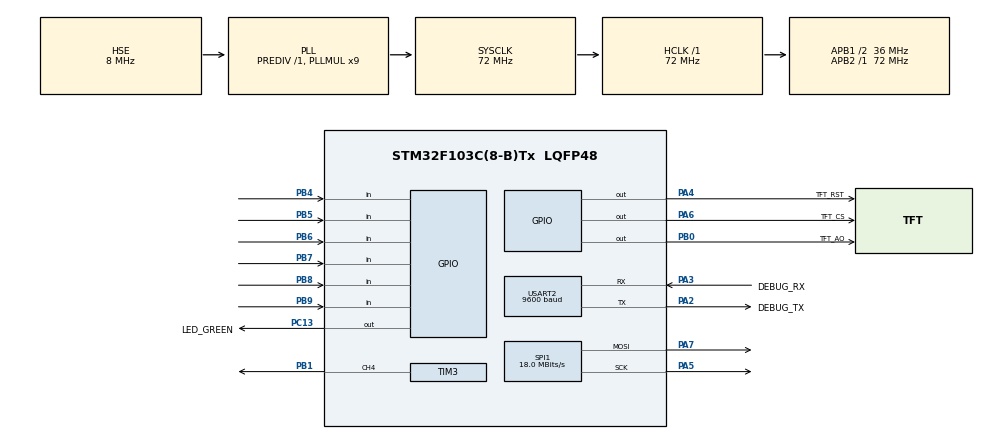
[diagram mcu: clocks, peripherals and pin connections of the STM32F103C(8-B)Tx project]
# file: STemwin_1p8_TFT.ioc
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Dma.Request0=USART2_RX
Dma.USART2_RX.0.Direction=DMA_PERIPH_TO_MEMORY
Dma.USART2_RX.0.Instance=DMA1_Channel6
Dma.USART2_RX.0.MemDataAlignment=DMA_MDATAALIGN_BYTE
Dma.USART2_RX.0.MemInc=DMA_MINC_ENABLE
Dma.USART2_RX.0.Mode=DMA_NORMAL
Dma.USART2_RX.0.PeriphDataAlignment=DMA_PDATAALIGN_BYTE
Dma.USART2_RX.0.PeriphInc=DMA_PINC_DISABLE
Dma.USART2_RX.0.Priority=DMA_PRIORITY_VERY_HIGH
Mcu.Family=STM32F1
Mcu.Name=STM32F103C(8-B)Tx
Mcu.Package=LQFP48
NVIC.DMA1_Channel6_IRQn=true\:0\:0\:false\:false\:true\:false
NVIC.PriorityGroup=NVIC_PRIORITYGROUP_4
NVIC.TIM4_IRQn=true\:1\:0\:true\:true\:true\:1\:true
NVIC.USART2_IRQn=true\:0\:0\:false\:false\:true\:true
PA13.Mode=Serial_Wire
PA13.Signal=SYS_JTMS-SWDIO
PA14.Mode=Serial_Wire
PA14.Signal=SYS_JTCK-SWCLK
PA2.GPIO_Label=DEBUG_TX
PA2.Mode=Asynchronous
PA2.Signal=USART2_TX
PA3.GPIO_Label=DEBUG_RX
PA3.Mode=Asynchronous
PA3.Signal=USART2_RX
PA4.GPIO_Label=TFT_RST
PA4.GPIO_Speed=GPIO_SPEED_FREQ_HIGH
PA4.Signal=GPIO_Output
PA5.Mode=TX_Only_Simplex_Unidirect_Master
PA5.Signal=SPI1_SCK
PA6.GPIO_Label=TFT_CS
PA6.GPIO_Speed=GPIO_SPEED_FREQ_HIGH
PA6.Signal=GPIO_Output
PA7.Mode=TX_Only_Simplex_Unidirect_Master
PA7.Signal=SPI1_MOSI
PB0.GPIO_Label=TFT_AO
PB0.GPIO_Speed=GPIO_SPEED_FREQ_HIGH
PB0.Signal=GPIO_Output
PB1.Signal=S_TIM3_CH4
PB4.GPIO_PuPd=GPIO_PULLUP
PB4.Signal=GPIO_Input
PB5.GPIO_PuPd=GPIO_PULLUP
PB5.Signal=GPIO_Input
PB6.GPIO_PuPd=GPIO_PULLUP
PB6.Signal=GPIO_Input
PB7.GPIO_PuPd=GPIO_PULLUP
PB7.Signal=GPIO_Input
PB8.GPIO_PuPd=GPIO_PULLUP
PB8.Signal=GPIO_Input
PB9.GPIO_PuPd=GPIO_PULLUP
PB9.Signal=GPIO_Input
PC13-TAMPER-RTC.GPIO_Label=LED_GREEN
PC13-TAMPER-RTC.GPIO_Speed=GPIO_SPEED_FREQ_HIGH
PC13-TAMPER-RTC.Signal=GPIO_Output
PC14-OSC32_IN.Mode=LSE-External-Oscillator
PC14-OSC32_IN.Signal=RCC_OSC32_IN
PC15-OSC32_OUT.Mode=LSE-External-Oscillator
PC15-OSC32_OUT.Signal=RCC_OSC32_OUT
PD0-OSC_IN.Mode=HSE-External-Oscillator
PD0-OSC_IN.Signal=RCC_OSC_IN
PD1-OSC_OUT.Mode=HSE-External-Oscillator
PD1-OSC_OUT.Signal=RCC_OSC_OUT
ProjectManager.HeapSize=0x800
ProjectManager.StackSize=0x1000
ProjectManager.TargetToolchain=MDK-ARM V5
RCC.ADCPresc=RCC_ADCPCLK2_DIV6
RCC.AHBFreq_Value=72000000
RCC.APB1CLKDivider=RCC_HCLK_DIV2
RCC.APB1Freq_Value=36000000
RCC.APB1TimFreq_Value=72000000
RCC.APB2Freq_Value=72000000
RCC.APB2TimFreq_Value=72000000
RCC.HCLKFreq_Value=72000000
RCC.PLLMUL=RCC_PLL_MUL9
RCC.PLLSourceVirtual=RCC_PLLSOURCE_HSE
RCC.SYSCLKFreq_VALUE=72000000
RCC.SYSCLKSource=RCC_SYSCLKSOURCE_PLLCLK
RCC.USBFreq_Value=48000000
RCC.USBPrescaler=RCC_USBCLKSOURCE_PLL_DIV1_5
SH.S_TIM3_CH4.0=TIM3_CH4,PWM Generation4 CH4
SPI1.BaudRatePrescaler=SPI_BAUDRATEPRESCALER_4
SPI1.CLKPhase=SPI_PHASE_2EDGE
SPI1.CLKPolarity=SPI_POLARITY_HIGH
SPI1.CalculateBaudRate=18.0 MBits/s
SPI1.Direction=SPI_DIRECTION_2LINES
SPI1.Mode=SPI_MODE_MASTER
SPI1.VirtualType=VM_MASTER
TIM3.Channel-PWM\ Generation4\ CH4=TIM_CHANNEL_4
TIM3.Period=11
TIM3.Prescaler=65535
TIM3.Pulse-PWM\ Generation4\ CH4=10
TIM4.Period=1000-1
TIM4.Prescaler=7200-1
USART2.BaudRate=9600
USART2.VirtualMode=VM_ASYNC
VP_CRC_VS_CRC.Mode=CRC_Activate
VP_TIM3_VS_ClockSourceINT.Mode=Internal
VP_TIM4_VS_ClockSourceINT.Mode=Internal
board=STemwin_1p8_TFT

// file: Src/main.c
/**
  ******************************************************************************
  * @file           : main.c
  * @brief          : Main program body
  ******************************************************************************
  ** This notice applies to any and all portions of this file
  * that are not between comment pairs USER CODE BEGIN and
  * USER CODE END. Other portions of this file, whether
  * inserted by the user or by software development tools
  * are owned by their respective copyright owners.
  *
  * COPYRIGHT(c) 2018 STMicroelectronics
  *
  * Redistribution and use in source and binary forms, with or without modification,
  * are permitted provided that the following conditions are met:
  *   1. Redistributions of source code must retain the above copyright notice,
  *      this list of conditions and the following disclaimer.
  *   2. Redistributions in binary form must reproduce the above copyright notice,
  *      this list of conditions and the following disclaimer in the documentation
  *      and/or other materials provided with the distribution.
  *   3. Neither the name of STMicroelectronics nor the names of its contributors
  *      may be used to endorse or promote products derived from this software
  *      without specific prior written permission.
  *
  * THIS SOFTWARE IS PROVIDED BY THE COPYRIGHT HOLDERS AND CONTRIBUTORS "AS IS"
  * AND ANY EXPRESS OR IMPLIED WARRANTIES, INCLUDING, BUT NOT LIMITED TO, THE
  * IMPLIED WARRANTIES OF MERCHANTABILITY AND FITNESS FOR A PARTICULAR PURPOSE ARE
  * DISCLAIMED. IN NO EVENT SHALL THE COPYRIGHT HOLDER OR CONTRIBUTORS BE LIABLE
  * FOR ANY DIRECT, INDIRECT, INCIDENTAL, SPECIAL, EXEMPLARY, OR CONSEQUENTIAL
  * DAMAGES (INCLUDING, BUT NOT LIMITED TO, PROCUREMENT OF SUBSTITUTE GOODS OR
  * SERVICES; LOSS OF USE, DATA, OR PROFITS; OR BUSINESS INTERRUPTION) HOWEVER
  * CAUSED AND ON ANY THEORY OF LIABILITY, WHETHER IN CONTRACT, STRICT LIABILITY,
  * OR TORT (INCLUDING NEGLIGENCE OR OTHERWISE) ARISING IN ANY WAY OUT OF THE USE
  * OF THIS SOFTWARE, EVEN IF ADVISED OF THE POSSIBILITY OF SUCH DAMAGE.
  *
  ******************************************************************************
  */
#include "main.h"
#include "stm32f1xx_hal.h"

/* USER CODE BEGIN Includes */
#include "GUI.h"
#include "DIALOG.h"

#include "eeprom.h"
#include "BSP_GPS.h"
#include "BSP_Button.h"
/* USER CODE END Includes */

CRC_HandleTypeDef hcrc;

SPI_HandleTypeDef hspi1;

TIM_HandleTypeDef htim3;
TIM_HandleTypeDef htim4;

UART_HandleTypeDef huart2;
DMA_HandleTypeDef hdma_usart2_rx;

/* USER CODE BEGIN PV */
/* Private variables ---------------------------------------------------------*/
GPS_GPRMC_INFO GPRMC;
uint8_t Nb_Of_coordinate;
uint8_t UART_GPS_RX[100];
uint8_t  RX_flag=1;       //闂佽浜介崕鏌ュ极瑜版帒鍐?闁搞儜鍛啀
uint16_t UART_GPS_RX_Size;//闂佽浜介崕鏌ュ极瑜版帒鏋侀柣妤?鐗嗙粊锕傛倵閸︻厼浠辨俊缁㈠灦濮婂綊宕归纰卞敽

Guassian_Projection_Typedef  Projection;
extern GUI_CONST_STORAGE GUI_FONT GUI_FontMyFont13;
extern GUI_CONST_STORAGE GUI_FONT GUI_FontMyFont24;
extern GUI_CONST_STORAGE GUI_FONT GUI_FontMyFont33;
/* USER CODE END PV */

void SystemClock_Config(void);
static void MX_GPIO_Init(void);
static void MX_DMA_Init(void);
static void MX_USART2_UART_Init(void);
static void MX_SPI1_Init(void);
static void MX_CRC_Init(void);
static void MX_TIM3_Init(void);
static void MX_TIM4_Init(void);
static void MX_NVIC_Init(void);

void HAL_TIM_MspPostInit(TIM_HandleTypeDef *htim);

/* USER CODE BEGIN PFP */
/* Private function prototypes -----------------------------------------------*/
void UsartReceive_IDLE(UART_HandleTypeDef *huart);
void CD(void);
WM_HWIN CreateWindow(void);

/* USER CODE END PFP */

int main(void)
{

  /* MCU Configuration----------------------------------------------------------*/

  /* Reset of all peripherals, Initializes the Flash interface and the Systick. */
  HAL_Init();

  /* Configure the system clock */
  SystemClock_Config();

  /* Initialize all configured peripherals */
  MX_GPIO_Init();
  MX_DMA_Init();
  MX_USART2_UART_Init();
  MX_SPI1_Init();
  MX_CRC_Init();
  MX_TIM3_Init();
  MX_TIM4_Init();

  /* Initialize interrupts */
  MX_NVIC_Init();
  /* USER CODE BEGIN 2 */

	__HAL_RCC_CRC_CLK_ENABLE();

	HAL_TIM_Base_Start(&htim3);
	HAL_TIM_PWM_Start(&htim3,TIM_CHANNEL_4);

  Nb_Of_coordinate=0;

  GUI_Init();
  GUI_UC_SetEncodeUTF8();
	GUI_SetColor(GUI_BLACK);
	GUI_SetBkColor(GUI_WHITE);
	GUI_Clear();

	GUI_SetFont(&GUI_FontMyFont33);
  GUI_SetColor(GUI_RED);
  GUI_DispStringAt("GPS 测亩仪",10,20);

	GUI_SetFont(&GUI_FontMyFont24);
  GUI_SetColor(GUI_LIGHTRED);
	GUI_DispStringAt("By 祁星晨",50,80);

	HAL_Delay(5000);
 GUI_SetBkColor(GUI_CYAN);
	GUI_Clear();

	CreateWindow();

	HAL_UART_Receive_DMA(&huart2, UART_GPS_RX, 100);
  __HAL_UART_ENABLE_IT(&huart2, UART_IT_IDLE);

	HAL_TIM_Base_Start_IT(&htim4);

  /* USER CODE END 2 */

  /* Infinite loop */
  while (1)
  {

  /* USER CODE BEGIN 3 */

  Get_GPS_GPRMC();

		GUI_SetFont(&GUI_Font10_ASCII);
    GUI_SetColor(GUI_GRAY);
	      if(GPRMC.GPS_UTC_Hours!=0)
						{
            GUI_DispDecAt( GPRMC.GPS_UTC_Hours ,0,0,2);
						GUI_DispChar(':');
            }

				if(GPRMC.GPS_UTC_Minutes!=0)
					  {
							GUI_DispDecAt( GPRMC.GPS_UTC_Minutes ,17,0,2);
              GUI_DispChar(':');
				  	}
				if(GPRMC.GPS_UTC_Seconds!=0)
           {
						GUI_DispDecAt( GPRMC.GPS_UTC_Seconds ,34,0,2);
					 }

		      if(GPRMC.GPS_Statu==1)
	         {
            GUI_DispStringAt("NO",0,10);
		       }

					if(GPRMC.GPS_Statu==2)
					{

								GUI_DispStringAt("OK",0,10);

								if(GPRMC.GPS_Latitude_DD!=0)
								{
						      GUI_DispDecAt( GPRMC.GPS_Latitude_DD ,76,2,3);
									GUI_DispDec(GPRMC.GPS_Latitude_MM,7);
						   	}

				        if(GPRMC.GPS_Longitude_DD!=0)
								{
						      GUI_DispDecAt(GPRMC.GPS_Longitude_DD ,76,14,3);
									GUI_DispDec(GPRMC.GPS_Longitude_MM,7);
								}

								if(GPRMC.GPS_NS==1)
								{
									  GUI_SetFont(&GUI_FontMyFont13);
                    GUI_DispStringAt("北纬",135,0);
								}

								if(GPRMC.GPS_NS==2)
								{
									GUI_SetFont(&GUI_FontMyFont13);
									GUI_DispStringAt("南纬",135,0);
								}

								if(GPRMC.GPS_WE==1)
								{
									GUI_SetFont(&GUI_FontMyFont13);
									GUI_DispStringAt("东经",135,14);
								}
								if(GPRMC.GPS_WE==2)
								{
									GUI_SetFont(&GUI_FontMyFont13);
								  GUI_DispStringAt("西经",135,14);
								}

								Projection=Guassian_Projection(GPRMC.GPS_Latitude_DD,GPRMC.GPS_Latitude_MM,GPRMC.GPS_Longitude_DD,GPRMC.GPS_Longitude_MM);

		  		}

  GUI_Delay(80);

 }

  /* USER CODE END 3 */

}

void SystemClock_Config(void)
{

  RCC_OscInitTypeDef RCC_OscInitStruct;
  RCC_ClkInitTypeDef RCC_ClkInitStruct;

    /**Initializes the CPU, AHB and APB busses clocks
    */
  RCC_OscInitStruct.OscillatorType = RCC_OSCILLATORTYPE_HSE;
  RCC_OscInitStruct.HSEState = RCC_HSE_ON;
  RCC_OscInitStruct.HSEPredivValue = RCC_HSE_PREDIV_DIV1;
  RCC_OscInitStruct.HSIState = RCC_HSI_ON;
  RCC_OscInitStruct.PLL.PLLState = RCC_PLL_ON;
  RCC_OscInitStruct.PLL.PLLSource = RCC_PLLSOURCE_HSE;
  RCC_OscInitStruct.PLL.PLLMUL = RCC_PLL_MUL9;
  if (HAL_RCC_OscConfig(&RCC_OscInitStruct) != HAL_OK)
  {
    _Error_Handler(__FILE__, __LINE__);
  }

    /**Initializes the CPU, AHB and APB busses clocks
    */
  RCC_ClkInitStruct.ClockType = RCC_CLOCKTYPE_HCLK|RCC_CLOCKTYPE_SYSCLK
                              |RCC_CLOCKTYPE_PCLK1|RCC_CLOCKTYPE_PCLK2;
  RCC_ClkInitStruct.SYSCLKSource = RCC_SYSCLKSOURCE_PLLCLK;
  RCC_ClkInitStruct.AHBCLKDivider = RCC_SYSCLK_DIV1;
  RCC_ClkInitStruct.APB1CLKDivider = RCC_HCLK_DIV2;
  RCC_ClkInitStruct.APB2CLKDivider = RCC_HCLK_DIV1;

  if (HAL_RCC_ClockConfig(&RCC_ClkInitStruct, FLASH_LATENCY_2) != HAL_OK)
  {
    _Error_Handler(__FILE__, __LINE__);
  }

    /**Configure the Systick interrupt time
    */
  HAL_SYSTICK_Config(HAL_RCC_GetHCLKFreq()/1000);

    /**Configure the Systick
    */
  HAL_SYSTICK_CLKSourceConfig(SYSTICK_CLKSOURCE_HCLK);

  /* SysTick_IRQn interrupt configuration */
  HAL_NVIC_SetPriority(SysTick_IRQn, 0, 0);
}

/**
  * @brief NVIC Configuration.
  * @retval None
  */
static void MX_NVIC_Init(void)
{
  /* TIM4_IRQn interrupt configuration */
  HAL_NVIC_SetPriority(TIM4_IRQn, 1, 0);
  HAL_NVIC_EnableIRQ(TIM4_IRQn);
}

/* CRC init function */
static void MX_CRC_Init(void)
{

  hcrc.Instance = CRC;
  if (HAL_CRC_Init(&hcrc) != HAL_OK)
  {
    _Error_Handler(__FILE__, __LINE__);
  }

}

/* SPI1 init function */
static void MX_SPI1_Init(void)
{

  /* SPI1 parameter configuration*/
  hspi1.Instance = SPI1;
  hspi1.Init.Mode = SPI_MODE_MASTER;
  hspi1.Init.Direction = SPI_DIRECTION_2LINES;
  hspi1.Init.DataSize = SPI_DATASIZE_8BIT;
  hspi1.Init.CLKPolarity = SPI_POLARITY_HIGH;
  hspi1.Init.CLKPhase = SPI_PHASE_2EDGE;
  hspi1.Init.NSS = SPI_NSS_SOFT;
  hspi1.Init.BaudRatePrescaler = SPI_BAUDRATEPRESCALER_4;
  hspi1.Init.FirstBit = SPI_FIRSTBIT_MSB;
  hspi1.Init.TIMode = SPI_TIMODE_DISABLE;
  hspi1.Init.CRCCalculation = SPI_CRCCALCULATION_DISABLE;
  hspi1.Init.CRCPolynomial = 10;
  if (HAL_SPI_Init(&hspi1) != HAL_OK)
  {
    _Error_Handler(__FILE__, __LINE__);
  }

}

/* TIM3 init function */
static void MX_TIM3_Init(void)
{

  TIM_ClockConfigTypeDef sClockSourceConfig;
  TIM_MasterConfigTypeDef sMasterConfig;
  TIM_OC_InitTypeDef sConfigOC;

  htim3.Instance = TIM3;
  htim3.Init.Prescaler = 65535;
  htim3.Init.CounterMode = TIM_COUNTERMODE_UP;
  htim3.Init.Period = 11;
  htim3.Init.ClockDivision = TIM_CLOCKDIVISION_DIV1;
  htim3.Init.AutoReloadPreload = TIM_AUTORELOAD_PRELOAD_DISABLE;
  if (HAL_TIM_Base_Init(&htim3) != HAL_OK)
  {
    _Error_Handler(__FILE__, __LINE__);
  }

  sClockSourceConfig.ClockSource = TIM_CLOCKSOURCE_INTERNAL;
  if (HAL_TIM_ConfigClockSource(&htim3, &sClockSourceConfig) != HAL_OK)
  {
    _Error_Handler(__FILE__, __LINE__);
  }

  if (HAL_TIM_PWM_Init(&htim3) != HAL_OK)
  {
    _Error_Handler(__FILE__, __LINE__);
  }

  sMasterConfig.MasterOutputTrigger = TIM_TRGO_RESET;
  sMasterConfig.MasterSlaveMode = TIM_MASTERSLAVEMODE_DISABLE;
  if (HAL_TIMEx_MasterConfigSynchronization(&htim3, &sMasterConfig) != HAL_OK)
  {
    _Error_Handler(__FILE__, __LINE__);
  }

  sConfigOC.OCMode = TIM_OCMODE_PWM1;
  sConfigOC.Pulse = 10;
  sConfigOC.OCPolarity = TIM_OCPOLARITY_HIGH;
  sConfigOC.OCFastMode = TIM_OCFAST_DISABLE;
  if (HAL_TIM_PWM_ConfigChannel(&htim3, &sConfigOC, TIM_CHANNEL_4) != HAL_OK)
  {
    _Error_Handler(__FILE__, __LINE__);
  }

  HAL_TIM_MspPostInit(&htim3);

}

/* TIM4 init function */
static void MX_TIM4_Init(void)
{

  TIM_ClockConfigTypeDef sClockSourceConfig;
  TIM_MasterConfigTypeDef sMasterConfig;

  htim4.Instance = TIM4;
  htim4.Init.Prescaler = 7200-1;
  htim4.Init.CounterMode = TIM_COUNTERMODE_UP;
  htim4.Init.Period = 1000-1;
  htim4.Init.ClockDivision = TIM_CLOCKDIVISION_DIV1;
  htim4.Init.AutoReloadPreload = TIM_AUTORELOAD_PRELOAD_DISABLE;
  if (HAL_TIM_Base_Init(&htim4) != HAL_OK)
  {
    _Error_Handler(__FILE__, __LINE__);
  }

  sClockSourceConfig.ClockSource = TIM_CLOCKSOURCE_INTERNAL;
  if (HAL_TIM_ConfigClockSource(&htim4, &sClockSourceConfig) != HAL_OK)
  {
    _Error_Handler(__FILE__, __LINE__);
  }

  sMasterConfig.MasterOutputTrigger = TIM_TRGO_RESET;
  sMasterConfig.MasterSlaveMode = TIM_MASTERSLAVEMODE_DISABLE;
  if (HAL_TIMEx_MasterConfigSynchronization(&htim4, &sMasterConfig) != HAL_OK)
  {
    _Error_Handler(__FILE__, __LINE__);
  }

}

/* USART2 init function */
static void MX_USART2_UART_Init(void)
{

  huart2.Instance = USART2;
  huart2.Init.BaudRate = 9600;
  huart2.Init.WordLength = UART_WORDLENGTH_8B;
  huart2.Init.StopBits = UART_STOPBITS_1;
  huart2.Init.Parity = UART_PARITY_NONE;
  huart2.Init.Mode = UART_MODE_TX_RX;
  huart2.Init.HwFlowCtl = UART_HWCONTROL_NONE;
  huart2.Init.OverSampling = UART_OVERSAMPLING_16;
  if (HAL_UART_Init(&huart2) != HAL_OK)
  {
    _Error_Handler(__FILE__, __LINE__);
  }

}

static void MX_DMA_Init(void)
{
  /* DMA controller clock enable */
  __HAL_RCC_DMA1_CLK_ENABLE();

  /* DMA interrupt init */
  /* DMA1_Channel6_IRQn interrupt configuration */
  HAL_NVIC_SetPriority(DMA1_Channel6_IRQn, 0, 0);
  HAL_NVIC_EnableIRQ(DMA1_Channel6_IRQn);

}

/** Configure pins as
        * Analog
        * Input
        * Output
        * EVENT_OUT
        * EXTI
*/
static void MX_GPIO_Init(void)
{

  GPIO_InitTypeDef GPIO_InitStruct;

  /* GPIO Ports Clock Enable */
  __HAL_RCC_GPIOC_CLK_ENABLE();
  __HAL_RCC_GPIOD_CLK_ENABLE();
  __HAL_RCC_GPIOA_CLK_ENABLE();
  __HAL_RCC_GPIOB_CLK_ENABLE();

  /*Configure GPIO pin Output Level */
  HAL_GPIO_WritePin(LED_GREEN_GPIO_Port, LED_GREEN_Pin, GPIO_PIN_RESET);

  /*Configure GPIO pin Output Level */
  HAL_GPIO_WritePin(GPIOA, TFT_RST_Pin|TFT_CS_Pin, GPIO_PIN_RESET);

  /*Configure GPIO pin Output Level */
  HAL_GPIO_WritePin(TFT_AO_GPIO_Port, TFT_AO_Pin, GPIO_PIN_RESET);

  /*Configure GPIO pin : LED_GREEN_Pin */
  GPIO_InitStruct.Pin = LED_GREEN_Pin;
  GPIO_InitStruct.Mode = GPIO_MODE_OUTPUT_PP;
  GPIO_InitStruct.Speed = GPIO_SPEED_FREQ_HIGH;
  HAL_GPIO_Init(LED_GREEN_GPIO_Port, &GPIO_InitStruct);

  /*Configure GPIO pins : TFT_RST_Pin TFT_CS_Pin */
  GPIO_InitStruct.Pin = TFT_RST_Pin|TFT_CS_Pin;
  GPIO_InitStruct.Mode = GPIO_MODE_OUTPUT_PP;
  GPIO_InitStruct.Speed = GPIO_SPEED_FREQ_HIGH;
  HAL_GPIO_Init(GPIOA, &GPIO_InitStruct);

  /*Configure GPIO pin : TFT_AO_Pin */
  GPIO_InitStruct.Pin = TFT_AO_Pin;
  GPIO_InitStruct.Mode = GPIO_MODE_OUTPUT_PP;
  GPIO_InitStruct.Speed = GPIO_SPEED_FREQ_HIGH;
  HAL_GPIO_Init(TFT_AO_GPIO_Port, &GPIO_InitStruct);

  /*Configure GPIO pins : PB4 PB5 PB6 PB7
                           PB8 PB9 */
  GPIO_InitStruct.Pin = GPIO_PIN_4|GPIO_PIN_5|GPIO_PIN_6|GPIO_PIN_7
                          |GPIO_PIN_8|GPIO_PIN_9;
  GPIO_InitStruct.Mode = GPIO_MODE_INPUT;
  GPIO_InitStruct.Pull = GPIO_PULLUP;
  HAL_GPIO_Init(GPIOB, &GPIO_InitStruct);

}

/* USER CODE BEGIN 4 */

void HAL_TIM_PeriodElapsedCallback(TIM_HandleTypeDef *htim)
{
    CD();

}
int fputc(int ch,FILE *f)
            {
                HAL_UART_Transmit(&huart2, (uint8_t *)&ch, 1, 0xFFFF);
                return ch;
            }

void UsartReceive_IDLE(UART_HandleTypeDef *huart)
            {
                uint32_t temp;

                if((__HAL_UART_GET_FLAG(huart,UART_FLAG_IDLE) != RESET))
                {
                    __HAL_UART_CLEAR_IDLEFLAG(&huart2);
                    HAL_UART_DMAStop(&huart2);
                    temp = huart2.hdmarx->Instance->CNDTR;
                    UART_GPS_RX_Size =  100 - temp;
                    RX_flag=1;
                    HAL_UART_Receive_DMA(&huart2,UART_GPS_RX,100);
                }

            }

/* USER CODE END 4 */

void _Error_Handler(char *file, int line)
{
  while(1)
  {
  }
}

/************************ (C) COPYRIGHT STMicroelectronics *****END OF FILE****/
